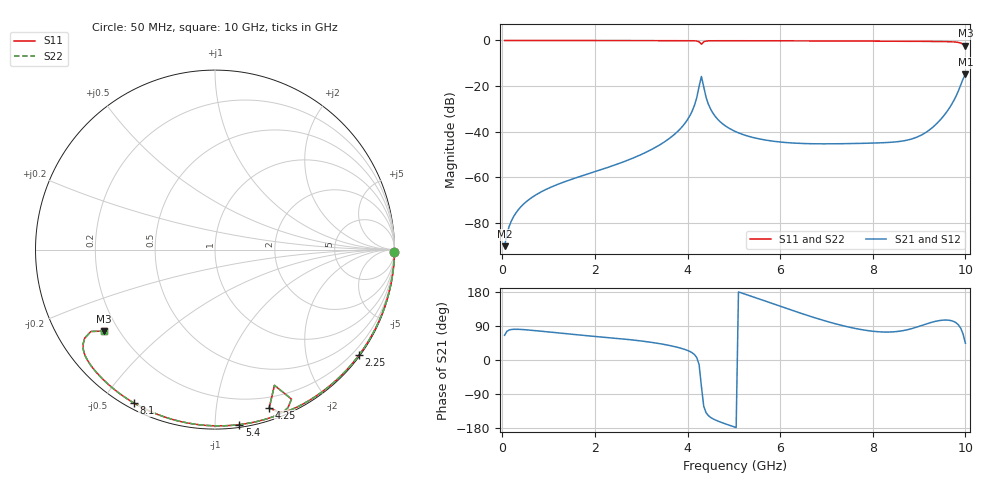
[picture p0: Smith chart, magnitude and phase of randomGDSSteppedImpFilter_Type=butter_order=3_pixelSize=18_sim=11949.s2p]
! freq	dB(S11)	phase(S11)	dB(S12)	phase(S12)
!  dB(S21)	phase(S21)	dB(S22)	phase(S22)
!S-par simulation data
#  GHz  S  DB  R 50
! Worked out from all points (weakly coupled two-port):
!   200 points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, 50 MHz to 10 GHz, reference 50 ohm
!   highest |S21| = -14.85 dB at 10 GHz (marker M1); lowest = -90.2 dB at 50 MHz (marker M2)
!   lowest |S11| = -2.3 dB at 10 GHz (marker M3), VSWR 7.65, Z = 7.22 - j16 ohm
!   |S11| at or under -10 dB: nowhere
!   |S22| runs from -2.3 to 0.0 dB; largest |S21 - S12| = 0
!   S11 on the Smith chart (normalised r, x): 50 MHz: open; 2.25 GHz: 0.03, -3.06; 4.25 GHz: 0.10, -1.39; 5.4 GHz: 0.02, -1.15; 8.1 GHz: 0.02, -0.60; 10 GHz: 0.14, -0.32
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0.05  -0.00 -0.8  -90.16 65.2  -90.16 65.2  -0.00 -0.8
0.15  -0.00 -2.5  -81.38 79.2  -81.38 79.2  -0.00 -2.5
0.4  -0.00 -6.5  -72.92 80.7  -72.92 80.7  -0.00 -6.5
0.75  -0.01 -12.2  -67.38 77.0  -67.38 77.0  -0.01 -12.2
1.75  -0.04 -28.3  -59.14 64.9  -59.14 64.9  -0.04 -28.3
2.25  -0.05 -36.2  -55.84 59.5  -55.84 59.5  -0.05 -36.2
3.4  -0.07 -54.0  -45.77 43.1  -45.77 43.1  -0.07 -54.0
4  -0.10 -63.6  -34.68 25.3  -34.68 25.3  -0.10 -63.6
4.15  -0.16 -66.9  -28.41 14.3  -28.41 14.3  -0.16 -66.9
4.25  -0.60 -71.1  -20.11 -12.4  -20.11 -12.4  -0.60 -71.1
4.3  -1.67 -66.4  -15.79 -69.9  -15.79 -69.9  -1.67 -66.3
4.4  -0.27 -65.2  -24.90 -139.0  -24.90 -139.0  -0.27 -65.2
4.55  -0.14 -69.1  -31.91 -155.3  -31.91 -155.3  -0.14 -69.1
5.05  -0.12 -77.0  -40.06 -178.3  -40.06 -178.3  -0.12 -77.0
5.4  -0.14 -82.0  -42.46 167.3  -42.46 167.3  -0.14 -82.0
6.7  -0.20 -99.7  -45.27 113.3  -45.27 113.3  -0.20 -99.7
8.1  -0.30 -118.0  -44.92 74.7  -44.92 74.7  -0.30 -118.0
8.35  -0.32 -121.2  -44.69 73.8  -44.69 73.8  -0.32 -121.2
8.85  -0.37 -127.7  -43.13 83.1  -43.13 83.1  -0.37 -127.7
9.3  -0.44 -133.9  -37.95 100.4  -37.95 100.4  -0.43 -133.9
9.7  -0.58 -140.5  -28.12 103.6  -28.12 103.6  -0.58 -140.5
10  -2.28 -143.8  -14.85 44.3  -14.85 44.3  -2.29 -143.8
